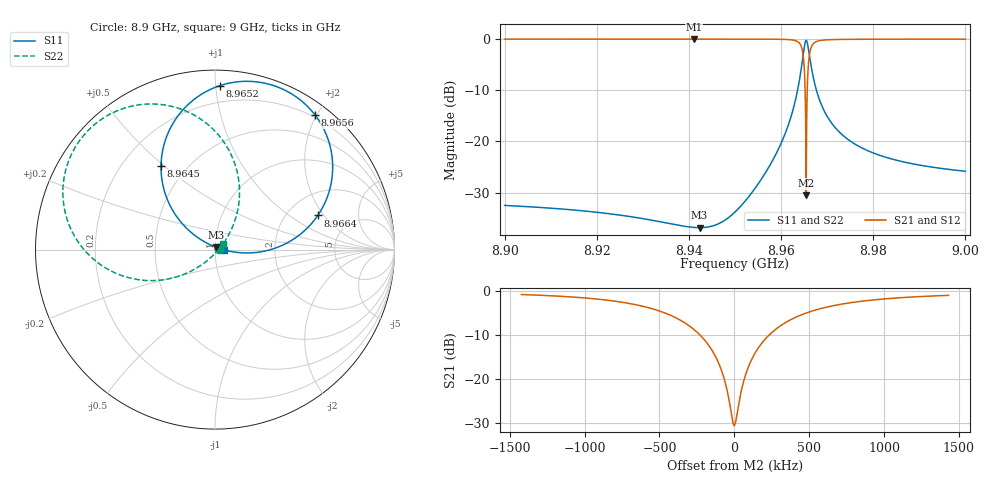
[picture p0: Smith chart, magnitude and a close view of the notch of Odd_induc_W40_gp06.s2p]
! Sonnet Data File
! From: emgraph Version : 16.52
! From Project: Resonator2_cp_varyW
! Data is De-embedded
! Data File Written: 10/08/2017 22:08:32
!< HDATE 10/08/2017 15:20:13
!< MDATE 10/08/2017 15:20:13
!< PARAMS
!< Length = 400.0
!< Pwid1 = 2000.0
!< Pwid2 = 2000.0
!< Air_gap = 24.0
!< Width = 40.0
!< gap = 6.0
!< END PARAMS
# GHZ S MA R 45.40000
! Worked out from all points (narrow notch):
!   1595 points, 8.9 GHz to 9 GHz, reference 45.4 ohm
!   highest |S21| = 0.00 dB at 8.9411 GHz (marker M1); lowest = -30.6 dB at 8.9654 GHz (marker M2)
!   notch at M2: 30.5 dB deep, 240 kHz wide at half that depth
!   lowest |S11| = -36.9 dB at 8.9423 GHz (marker M3), VSWR 1.03, Z = 45.9 + j1.23 ohm
!   |S11| at or under -10 dB: start of sweep to 8.9636 GHz; 8.96767 GHz to end of sweep
!   |S22| runs from -36.9 to -0.3 dB; largest |S21 - S12| = 0
!   S11 on the Smith chart (normalised r, x): 8.9 GHz: 1.05, +0.02; 8.9645 GHz: 0.36, +0.49; 8.9652 GHz: 0.09, +1.03; 8.9656 GHz: 0.17, +1.98; 8.9664 GHz: 2.91, +1.74; 9 GHz: 1.11, -0.00
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8.9  0.0237 17.8  0.9997 -74.8  0.9997 -74.8  0.0237 12.7
!< P1 F=8.9 Eeff=(5.09096395 -2.214e-5) Z0=(45.4059169 1.00354e-4) R=0.0 C=0.0
!< P2 F=8.9 Eeff=(5.09096395 -2.214e-5) Z0=(45.4059169 1.00354e-4) R=0.0 C=0.0
8.9167  0.02102 23.3  0.9998 -75.1  0.9998 -75.1  0.02102 6.5
8.9334  0.01652 40.0  0.9998 -75.7  0.9998 -75.7  0.01649 -11.3
8.9411  0.01444 63.3  0.9999 -76.1  0.9999 -76.1  0.01439 -35.5
8.9423  0.01436 68.9  0.9999 -76.2  0.9999 -76.2  0.01431 -41.3
8.95  0.02042 113.5  0.9997 -77.1  0.9997 -77.1  0.02034 -88.0
8.961471  0.1404 144.8  0.9892 -84.4  0.9892 -84.4  0.1402 -134.4
8.9634  0.2886 138.9  0.9543 -93.1  0.9543 -93.1  0.2883 -146.5
8.964485  0.5548 122.8  0.8197 -110.1  0.8197 -110.1  0.5543 -165.6
8.964897  0.7558 107.1  0.6266 -125.4  0.6266 -125.4  0.7551 177.6
8.965199  0.9142 88.2  0.3358 -142.0  0.3358 -142.0  0.9134 158.0
8.965346  0.9609 76.9  0.1433 -146.4  0.1433 -146.4  0.9601 146.3
8.965445  0.9708 69.0  0.02967 -75.2  0.02967 -75.2  0.9699 138.1
8.965531  0.9638 62.1  0.1255 -6.8  0.1255 -6.8  0.963 131.1
8.965646  0.9339 53.3  0.2764 -8.2  0.2764 -8.2  0.9331 122.0
8.965902  0.8176 36.8  0.5413 -21.7  0.5413 -21.7  0.8169 104.9
8.966361  0.6036 18.4  0.7845 -39.3  0.7845 -39.3  0.6031 85.4
8.966669  0.5004 11.3  0.8579 -46.4  0.8579 -46.4  0.5 77.7
8.968408  0.2499 -3.1  0.9668 -62.0  0.9668 -62.0  0.2497 59.8
8.971915  0.1337 -7.2  0.9907 -68.8  0.9907 -68.8  0.1336 49.8
8.9834  0.06855 -5.2  0.9976 -72.7  0.9976 -72.7  0.06854 39.8
9  0.0511 -2.2  0.9987 -73.9  0.9987 -73.9  0.0511 34.4
